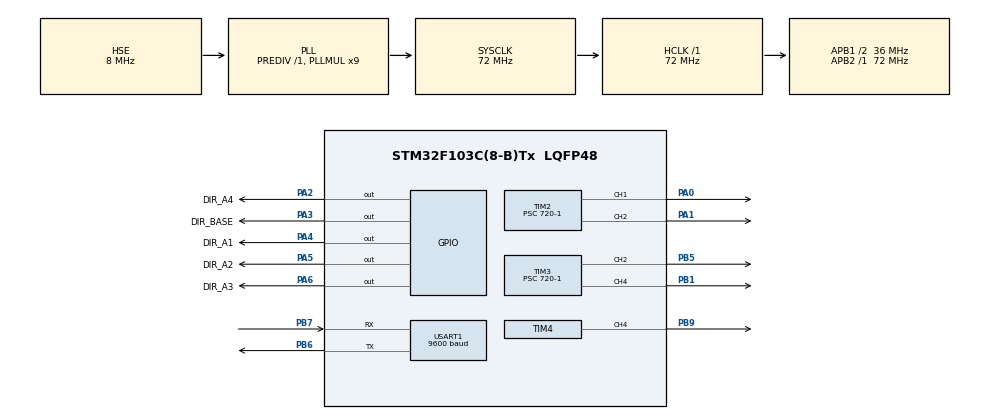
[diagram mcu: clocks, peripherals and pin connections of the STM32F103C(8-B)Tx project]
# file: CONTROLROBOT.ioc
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Mcu.Family=STM32F1
Mcu.Name=STM32F103C(8-B)Tx
Mcu.Package=LQFP48
NVIC.PriorityGroup=NVIC_PRIORITYGROUP_4
NVIC.TIM2_IRQn=true\:0\:0\:false\:false\:true\:true\:true\:true
NVIC.TIM3_IRQn=true\:0\:0\:false\:false\:true\:true\:true\:true
NVIC.TIM4_IRQn=true\:0\:0\:false\:false\:true\:true\:true\:true
NVIC.USART1_IRQn=true\:0\:0\:false\:false\:true\:true\:true\:true
PA0-WKUP.Signal=S_TIM2_CH1_ETR
PA1.Signal=S_TIM2_CH2
PA13.Mode=Serial_Wire
PA13.Signal=SYS_JTMS-SWDIO
PA14.Mode=Serial_Wire
PA14.Signal=SYS_JTCK-SWCLK
PA2.GPIO_Label=DIR_A4
PA2.Signal=GPIO_Output
PA3.GPIO_Label=DIR_BASE
PA3.Signal=GPIO_Output
PA4.GPIO_Label=DIR_A1
PA4.Signal=GPIO_Output
PA5.GPIO_Label=DIR_A2
PA5.Signal=GPIO_Output
PA6.GPIO_Label=DIR_A3
PA6.Signal=GPIO_Output
PB1.Signal=S_TIM3_CH4
PB5.Signal=S_TIM3_CH2
PB6.Mode=Asynchronous
PB6.Signal=USART1_TX
PB7.Mode=Asynchronous
PB7.Signal=USART1_RX
PB9.Signal=S_TIM4_CH4
PD0-OSC_IN.Mode=HSE-External-Oscillator
PD0-OSC_IN.Signal=RCC_OSC_IN
PD1-OSC_OUT.Mode=HSE-External-Oscillator
PD1-OSC_OUT.Signal=RCC_OSC_OUT
ProjectManager.HeapSize=0x200
ProjectManager.StackSize=0x400
ProjectManager.TargetToolchain=STM32CubeIDE
RCC.AHBFreq_Value=72000000
RCC.APB1CLKDivider=RCC_HCLK_DIV2
RCC.APB1Freq_Value=36000000
RCC.APB1TimFreq_Value=72000000
RCC.APB2Freq_Value=72000000
RCC.APB2TimFreq_Value=72000000
RCC.HCLKFreq_Value=72000000
RCC.PLLMUL=RCC_PLL_MUL9
RCC.PLLSourceVirtual=RCC_PLLSOURCE_HSE
RCC.SYSCLKFreq_VALUE=72000000
RCC.SYSCLKSource=RCC_SYSCLKSOURCE_PLLCLK
RCC.USBFreq_Value=72000000
SH.S_TIM2_CH1_ETR.0=TIM2_CH1,PWM Generation1 CH1
SH.S_TIM2_CH2.0=TIM2_CH2,PWM Generation2 CH2
SH.S_TIM3_CH2.0=TIM3_CH2,PWM Generation2 CH2
SH.S_TIM3_CH4.0=TIM3_CH4,PWM Generation4 CH4
SH.S_TIM4_CH4.0=TIM4_CH4,PWM Generation4 CH4
TIM2.Channel-PWM\ Generation1\ CH1=TIM_CHANNEL_1
TIM2.Channel-PWM\ Generation2\ CH2=TIM_CHANNEL_2
TIM2.Period=25-1
TIM2.Prescaler=720-1
TIM2.Pulse-PWM\ Generation1\ CH1=10
TIM2.Pulse-PWM\ Generation2\ CH2=10
TIM3.Channel-PWM\ Generation2\ CH2=TIM_CHANNEL_2
TIM3.Channel-PWM\ Generation4\ CH4=TIM_CHANNEL_4
TIM3.Period=50-1
TIM3.Prescaler=720-1
TIM3.Pulse-PWM\ Generation2\ CH2=30
TIM3.Pulse-PWM\ Generation4\ CH4=30
TIM4.Channel-PWM\ Generation4\ CH4=TIM_CHANNEL_4
TIM4.Period=50-1
TIM4.Prescaler=720-1
TIM4.Pulse-PWM\ Generation4\ CH4=30-1
USART1.BaudRate=9600
USART1.VirtualMode=VM_ASYNC
VP_TIM2_VS_ClockSourceINT.Mode=Internal
VP_TIM3_VS_ClockSourceINT.Mode=Internal
VP_TIM4_VS_ClockSourceINT.Mode=Internal
board=custom

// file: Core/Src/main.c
/* USER CODE BEGIN Header */
/**
 ******************************************************************************
 * @file           : main.c
 * @brief          : Main program body
 ******************************************************************************
 * @attention
 *
 * Copyright (c) 2024 STMicroelectronics.
 * All rights reserved.
 *
 * This software is licensed under terms that can be found in the LICENSE file
 * in the root directory of this software component.
 * If no LICENSE file comes with this software, it is provided AS-IS.
 *
 ******************************************************************************
 */
/* USER CODE END Header */
#include "main.h"

/* USER CODE BEGIN Includes */
#include <stdbool.h>
#include <stdio.h>
/* USER CODE END Includes */

/* USER CODE BEGIN PD */
#define BASE_CHANNEL TIM_CHANNEL_2
#define A1_CHANNEL TIM_CHANNEL_2
#define A2_CHANNEL TIM_CHANNEL_4
#define A3_CHANNEL TIM_CHANNEL_4
#define A4_CHANNEL TIM_CHANNEL_1
#define length 48
#define MAX_VALUE 100000
#define VALUE_FINISH_TIMER 31
#define BIT_STOP_BASE 0
#define BIT_STOP_A1 1
#define BIT_STOP_A2 2
#define BIT_STOP_A3 3
#define BIT_STOP_A4 4

/* USER CODE END PD */

TIM_HandleTypeDef htim2;
TIM_HandleTypeDef htim3;
TIM_HandleTypeDef htim4;

UART_HandleTypeDef huart1;

/* USER CODE BEGIN PV */
int pulse_base = 0, pulse_a1 = 0, pulse_a2 = 0, pulse_a3 = 0, pulse_a4 = 0,
		count_dot = 0, count_finish_timer = 0;
bool flag_receive_uart = false, flag_dir_change_base = false,
		flag_dir_change_a1 = false, flag_dir_change_a2 = 0, flag_dir_change_a3 =
				0, flag_dir_change_a4 = 0;
unsigned char flag_finish_timer = 0;
uint32_t value_base = MAX_VALUE, value_a1 = MAX_VALUE, value_a2 = MAX_VALUE,
		value_a3 = MAX_VALUE, value_a4 = MAX_VALUE, step_base = 0, step_a1 = 0,
		step_a2 = 0, step_a3 = 0, step_a4 = 0;
char rxByte[length];
char Home[length] = "Home----------------------";
char Stop[length] = "Stop----------------------";
typedef enum {
	Home_State = 1, Stop_State = 2,
} State;
typedef enum {
	ClockWise = 0, CounterClockWise = 1,
} Direction;
typedef enum {
	On = 0, Off = 1,
} Switch;
/* USER CODE END PV */

void SystemClock_Config(void);
static void MX_GPIO_Init(void);
static void MX_TIM2_Init(void);
static void MX_USART1_UART_Init(void);
static void MX_TIM3_Init(void);
static void MX_TIM4_Init(void);

/* USER CODE BEGIN 0 */
#if defined(__GNUC__)
int _write(int fd, char *ptr, int len) {
	HAL_UART_Transmit(&huart1, (uint8_t*) ptr, len, HAL_MAX_DELAY);
	return len;
}
#elif defined(__ICCARM__)#include "LowLevelIOInterface.h"

size_t __write(int handle,
  const unsigned char * buffer, size_t size) {
  HAL_UART_Transmit( &huart1, (uint8_t * ) buffer, size, UART_Delay);
  return size;
}
#elif defined(__CC_ARM)
int fputc(int ch, FILE * f) {
  HAL_UART_Transmit( &huart1, (uint8_t * ) &ch, 1, UART_Delay);
  return ch;
}
#endif
void HAL_TIM_PeriodElapsedCallback(TIM_HandleTypeDef *htim) {
	if (flag_receive_uart) {
		if (htim->Instance == TIM2) {
			pulse_a4 =
					!(flag_finish_timer & (1 << BIT_STOP_A4)) ?
							pulse_a4 + 1 : 0;
			pulse_base =
					!(flag_finish_timer & (1 << BIT_STOP_BASE)) ?
							pulse_base + 1 : 0;
			if (pulse_a4 >= step_a4) {
				HAL_TIM_PWM_Stop(&htim2, A4_CHANNEL);
				flag_finish_timer = flag_finish_timer | (1 << BIT_STOP_A4);
			}
			if (pulse_base >= step_base) {
				HAL_TIM_PWM_Stop(&htim2, BASE_CHANNEL);
				flag_finish_timer = flag_finish_timer | (1 << BIT_STOP_BASE);
			}
		}
		if (htim->Instance == TIM3) {
			pulse_a1 =
					!(flag_finish_timer & (1 << BIT_STOP_A1)) ?
							pulse_a1 + 1 : 0;
			pulse_a3 =
					!(flag_finish_timer & (1 << BIT_STOP_A3)) ?
							pulse_a3 + 1 : 0;
			if (pulse_a1 >= step_a1) {
				HAL_TIM_PWM_Stop(&htim3, A1_CHANNEL);
				flag_finish_timer = flag_finish_timer | (1 << BIT_STOP_A1);

			}
			if (pulse_a3 >= step_a3) {
				HAL_TIM_PWM_Stop(&htim3, A3_CHANNEL);
				flag_finish_timer = flag_finish_timer | (1 << BIT_STOP_A3);
			}

		}
		if (htim->Instance == TIM4) {
			pulse_a2 = !(flag_finish_timer & (1 << BIT_STOP_A2))? pulse_a2 + 1 : 0;
			if (pulse_a2 >= step_a2) {
				HAL_TIM_PWM_Stop(&htim4, A2_CHANNEL);
				flag_finish_timer = flag_finish_timer | (1 << BIT_STOP_A2);
			}

		}
		if (flag_finish_timer == VALUE_FINISH_TIMER) {
			flag_receive_uart = false;
			pulse_base = 0;
			pulse_a1 = 0;
			pulse_a2 = 0;
			pulse_a3 = 0;
			pulse_a4 = 0;
			flag_finish_timer = 0;

		}
	}

}

void reset_value_uart(void) {
	step_base = 0;
	step_a1 = 0;
	step_a2 = 0;
	step_a3 = 0;
	step_a4 = 0;
	value_base = MAX_VALUE;
	value_a1 = MAX_VALUE;
	value_a2 = MAX_VALUE;
	value_a3 = MAX_VALUE;
	value_a4 = MAX_VALUE;
	count_dot = 0;
	flag_dir_change_base = false;
	flag_dir_change_a1 = false;
	flag_dir_change_a2 = false;
	flag_dir_change_a3 = false;
	flag_dir_change_a4 = false;

}

void HAL_UART_RxCpltCallback(UART_HandleTypeDef *huart) {
	if (huart->Instance == USART1) {
		reset_value_uart();
		HAL_UART_Receive_IT(&huart1, (uint8_t*) rxByte, length);
		printf("Mode: XYZ\r\n");
		for (int i = 0; i < length; i++) {
			if ((rxByte[i] >= 'a' && rxByte[i] <= 'z')
					|| (rxByte[i] >= 'A' && rxByte[i] <= 'Z')
					|| rxByte[i] == '=') {
				continue;
			} else {
				if (rxByte[i] == ',') {
					count_dot++;
					continue;
				}
				switch (count_dot) {
				case 0:
					if (rxByte[i] == '-') {
						HAL_GPIO_WritePin(GPIOA, DIR_BASE_Pin,
								CounterClockWise);
//						HAL_GPIO_WritePin(PORT_DIR, DIR_BASE_Pin,
//								CounterClockWise);
						flag_dir_change_base = true;
						value_base /= 10;
						continue;
					}
					if (!flag_dir_change_base) {
						HAL_GPIO_WritePin(GPIOA, DIR_BASE_Pin, ClockWise);

					}
					step_base += ((int) rxByte[i] - '0') * value_base;
					value_base /= 10;
					break;
				case 1:
					if (rxByte[i] == '-') {
						HAL_GPIO_WritePin(GPIOA, DIR_A1_Pin, CounterClockWise);
						flag_dir_change_a1 = true;
						value_a1 /= 10;
						continue;
					}
					if (!flag_dir_change_a1) {
						HAL_GPIO_WritePin(GPIOA, DIR_A1_Pin, ClockWise);
					}
					step_a1 += ((int) rxByte[i] - '0') * value_a1;
					value_a1 /= 10;
					break;
				case 2:
					if (rxByte[i] == '-') {
						HAL_GPIO_WritePin(GPIOA, DIR_A2_Pin, CounterClockWise);
						value_a2 /= 10;
						flag_dir_change_a2 = true;
						continue;
					}
					if (!flag_dir_change_a2) {
						HAL_GPIO_WritePin(GPIOA, DIR_A2_Pin, ClockWise);
					}
					step_a2 += ((int) rxByte[i] - '0') * value_a2;
					value_a2 /= 10;
					break;
				case 3:
					if (rxByte[i] == '-') {
						HAL_GPIO_WritePin(GPIOA, DIR_A3_Pin, CounterClockWise);
						value_a3 /= 10;
						flag_dir_change_a3 = true;
						continue;
					}
					if (!flag_dir_change_a3) {
						HAL_GPIO_WritePin(GPIOA, DIR_A3_Pin, ClockWise);
					}
					step_a3 += ((int) rxByte[i] - '0') * value_a3;
					value_a3 /= 10;
					break;
				case 4:
					if (rxByte[i] == '-') {
						HAL_GPIO_WritePin(GPIOA, DIR_A4_Pin, CounterClockWise);
						value_a4 /= 10;
						flag_dir_change_a4 = true;
						continue;
					}
					if (!flag_dir_change_a4) {
						HAL_GPIO_WritePin(GPIOA, DIR_A4_Pin, ClockWise);
					}
					step_a4 += ((int) rxByte[i] - '0') * value_a4;
					value_a4 /= 10;
					break;
				}
			}
			flag_finish_timer = 0;
			if (step_base) {
				HAL_TIM_PWM_Start(&htim2, BASE_CHANNEL);
			} else {
				flag_finish_timer = flag_finish_timer | (1 << BIT_STOP_BASE);
			}
			if (step_a1) {
				HAL_TIM_PWM_Start(&htim3, A1_CHANNEL);
			} else {
				flag_finish_timer = flag_finish_timer | (1 << BIT_STOP_A1);
			}
			if (step_a2) {
				HAL_TIM_PWM_Start(&htim4, A2_CHANNEL);
			} else {
				flag_finish_timer = flag_finish_timer | (1 << BIT_STOP_A2);
			}
			if (step_a3) {
				HAL_TIM_PWM_Start(&htim3, A3_CHANNEL);
			} else {
				flag_finish_timer = flag_finish_timer | (1 << BIT_STOP_A3);
			}
			if (step_a4) {
				HAL_TIM_PWM_Start(&htim2, A4_CHANNEL);
			} else {
				flag_finish_timer = flag_finish_timer | (1 << BIT_STOP_A4);
			}

		}
		flag_receive_uart = true;
	}

}

/* USER CODE END 0 */

int main(void)
{

  /* MCU Configuration--------------------------------------------------------*/

  /* Reset of all peripherals, Initializes the Flash interface and the Systick. */
  HAL_Init();

  /* Configure the system clock */
  SystemClock_Config();

  /* Initialize all configured peripherals */
  MX_GPIO_Init();
  MX_TIM2_Init();
  MX_USART1_UART_Init();
  MX_TIM3_Init();
  MX_TIM4_Init();
  /* USER CODE BEGIN 2 */
	__HAL_TIM_CLEAR_IT(&htim2, TIM_IT_UPDATE);
	__HAL_TIM_CLEAR_IT(&htim3, TIM_IT_UPDATE);
	__HAL_TIM_CLEAR_IT(&htim4, TIM_IT_UPDATE);

	HAL_TIM_Base_Start_IT(&htim2);
	HAL_TIM_Base_Start_IT(&htim3);
	HAL_TIM_Base_Start_IT(&htim4);
	HAL_UART_Receive_IT(&huart1, (uint8_t*) rxByte, length);
  /* USER CODE END 2 */

  /* Infinite loop */
	while (1) {

	}
}

void SystemClock_Config(void)
{
  RCC_OscInitTypeDef RCC_OscInitStruct = {0};
  RCC_ClkInitTypeDef RCC_ClkInitStruct = {0};

  /** Initializes the RCC Oscillators according to the specified parameters
  * in the RCC_OscInitTypeDef structure.
  */
  RCC_OscInitStruct.OscillatorType = RCC_OSCILLATORTYPE_HSE;
  RCC_OscInitStruct.HSEState = RCC_HSE_ON;
  RCC_OscInitStruct.HSEPredivValue = RCC_HSE_PREDIV_DIV1;
  RCC_OscInitStruct.HSIState = RCC_HSI_ON;
  RCC_OscInitStruct.PLL.PLLState = RCC_PLL_ON;
  RCC_OscInitStruct.PLL.PLLSource = RCC_PLLSOURCE_HSE;
  RCC_OscInitStruct.PLL.PLLMUL = RCC_PLL_MUL9;
  if (HAL_RCC_OscConfig(&RCC_OscInitStruct) != HAL_OK)
  {
    Error_Handler();
  }

  /** Initializes the CPU, AHB and APB buses clocks
  */
  RCC_ClkInitStruct.ClockType = RCC_CLOCKTYPE_HCLK|RCC_CLOCKTYPE_SYSCLK
                              |RCC_CLOCKTYPE_PCLK1|RCC_CLOCKTYPE_PCLK2;
  RCC_ClkInitStruct.SYSCLKSource = RCC_SYSCLKSOURCE_PLLCLK;
  RCC_ClkInitStruct.AHBCLKDivider = RCC_SYSCLK_DIV1;
  RCC_ClkInitStruct.APB1CLKDivider = RCC_HCLK_DIV2;
  RCC_ClkInitStruct.APB2CLKDivider = RCC_HCLK_DIV1;

  if (HAL_RCC_ClockConfig(&RCC_ClkInitStruct, FLASH_LATENCY_2) != HAL_OK)
  {
    Error_Handler();
  }
}

static void MX_TIM2_Init(void)
{

  TIM_ClockConfigTypeDef sClockSourceConfig = {0};
  TIM_MasterConfigTypeDef sMasterConfig = {0};
  TIM_OC_InitTypeDef sConfigOC = {0};

  htim2.Instance = TIM2;
  htim2.Init.Prescaler = 720-1;
  htim2.Init.CounterMode = TIM_COUNTERMODE_UP;
  htim2.Init.Period = 25-1;
  htim2.Init.ClockDivision = TIM_CLOCKDIVISION_DIV1;
  htim2.Init.AutoReloadPreload = TIM_AUTORELOAD_PRELOAD_DISABLE;
  if (HAL_TIM_Base_Init(&htim2) != HAL_OK)
  {
    Error_Handler();
  }
  sClockSourceConfig.ClockSource = TIM_CLOCKSOURCE_INTERNAL;
  if (HAL_TIM_ConfigClockSource(&htim2, &sClockSourceConfig) != HAL_OK)
  {
    Error_Handler();
  }
  if (HAL_TIM_PWM_Init(&htim2) != HAL_OK)
  {
    Error_Handler();
  }
  sMasterConfig.MasterOutputTrigger = TIM_TRGO_RESET;
  sMasterConfig.MasterSlaveMode = TIM_MASTERSLAVEMODE_DISABLE;
  if (HAL_TIMEx_MasterConfigSynchronization(&htim2, &sMasterConfig) != HAL_OK)
  {
    Error_Handler();
  }
  sConfigOC.OCMode = TIM_OCMODE_PWM1;
  sConfigOC.Pulse = 10;
  sConfigOC.OCPolarity = TIM_OCPOLARITY_HIGH;
  sConfigOC.OCFastMode = TIM_OCFAST_DISABLE;
  if (HAL_TIM_PWM_ConfigChannel(&htim2, &sConfigOC, TIM_CHANNEL_1) != HAL_OK)
  {
    Error_Handler();
  }
  if (HAL_TIM_PWM_ConfigChannel(&htim2, &sConfigOC, TIM_CHANNEL_2) != HAL_OK)
  {
    Error_Handler();
  }
  HAL_TIM_MspPostInit(&htim2);

}

static void MX_TIM3_Init(void)
{

  TIM_ClockConfigTypeDef sClockSourceConfig = {0};
  TIM_MasterConfigTypeDef sMasterConfig = {0};
  TIM_OC_InitTypeDef sConfigOC = {0};

  htim3.Instance = TIM3;
  htim3.Init.Prescaler = 720-1;
  htim3.Init.CounterMode = TIM_COUNTERMODE_UP;
  htim3.Init.Period = 50-1;
  htim3.Init.ClockDivision = TIM_CLOCKDIVISION_DIV1;
  htim3.Init.AutoReloadPreload = TIM_AUTORELOAD_PRELOAD_DISABLE;
  if (HAL_TIM_Base_Init(&htim3) != HAL_OK)
  {
    Error_Handler();
  }
  sClockSourceConfig.ClockSource = TIM_CLOCKSOURCE_INTERNAL;
  if (HAL_TIM_ConfigClockSource(&htim3, &sClockSourceConfig) != HAL_OK)
  {
    Error_Handler();
  }
  if (HAL_TIM_PWM_Init(&htim3) != HAL_OK)
  {
    Error_Handler();
  }
  sMasterConfig.MasterOutputTrigger = TIM_TRGO_RESET;
  sMasterConfig.MasterSlaveMode = TIM_MASTERSLAVEMODE_DISABLE;
  if (HAL_TIMEx_MasterConfigSynchronization(&htim3, &sMasterConfig) != HAL_OK)
  {
    Error_Handler();
  }
  sConfigOC.OCMode = TIM_OCMODE_PWM1;
  sConfigOC.Pulse = 30;
  sConfigOC.OCPolarity = TIM_OCPOLARITY_HIGH;
  sConfigOC.OCFastMode = TIM_OCFAST_DISABLE;
  if (HAL_TIM_PWM_ConfigChannel(&htim3, &sConfigOC, TIM_CHANNEL_2) != HAL_OK)
  {
    Error_Handler();
  }
  if (HAL_TIM_PWM_ConfigChannel(&htim3, &sConfigOC, TIM_CHANNEL_4) != HAL_OK)
  {
    Error_Handler();
  }
  HAL_TIM_MspPostInit(&htim3);

}

static void MX_TIM4_Init(void)
{

  TIM_ClockConfigTypeDef sClockSourceConfig = {0};
  TIM_MasterConfigTypeDef sMasterConfig = {0};
  TIM_OC_InitTypeDef sConfigOC = {0};

  htim4.Instance = TIM4;
  htim4.Init.Prescaler = 720-1;
  htim4.Init.CounterMode = TIM_COUNTERMODE_UP;
  htim4.Init.Period = 50-1;
  htim4.Init.ClockDivision = TIM_CLOCKDIVISION_DIV1;
  htim4.Init.AutoReloadPreload = TIM_AUTORELOAD_PRELOAD_DISABLE;
  if (HAL_TIM_Base_Init(&htim4) != HAL_OK)
  {
    Error_Handler();
  }
  sClockSourceConfig.ClockSource = TIM_CLOCKSOURCE_INTERNAL;
  if (HAL_TIM_ConfigClockSource(&htim4, &sClockSourceConfig) != HAL_OK)
  {
    Error_Handler();
  }
  if (HAL_TIM_PWM_Init(&htim4) != HAL_OK)
  {
    Error_Handler();
  }
  sMasterConfig.MasterOutputTrigger = TIM_TRGO_RESET;
  sMasterConfig.MasterSlaveMode = TIM_MASTERSLAVEMODE_DISABLE;
  if (HAL_TIMEx_MasterConfigSynchronization(&htim4, &sMasterConfig) != HAL_OK)
  {
    Error_Handler();
  }
  sConfigOC.OCMode = TIM_OCMODE_PWM1;
  sConfigOC.Pulse = 30-1;
  sConfigOC.OCPolarity = TIM_OCPOLARITY_HIGH;
  sConfigOC.OCFastMode = TIM_OCFAST_DISABLE;
  if (HAL_TIM_PWM_ConfigChannel(&htim4, &sConfigOC, TIM_CHANNEL_4) != HAL_OK)
  {
    Error_Handler();
  }
  HAL_TIM_MspPostInit(&htim4);

}

static void MX_USART1_UART_Init(void)
{

  huart1.Instance = USART1;
  huart1.Init.BaudRate = 9600;
  huart1.Init.WordLength = UART_WORDLENGTH_8B;
  huart1.Init.StopBits = UART_STOPBITS_1;
  huart1.Init.Parity = UART_PARITY_NONE;
  huart1.Init.Mode = UART_MODE_TX_RX;
  huart1.Init.HwFlowCtl = UART_HWCONTROL_NONE;
  huart1.Init.OverSampling = UART_OVERSAMPLING_16;
  if (HAL_UART_Init(&huart1) != HAL_OK)
  {
    Error_Handler();
  }

}

static void MX_GPIO_Init(void)
{
  GPIO_InitTypeDef GPIO_InitStruct = {0};

  /* GPIO Ports Clock Enable */
  __HAL_RCC_GPIOD_CLK_ENABLE();
  __HAL_RCC_GPIOA_CLK_ENABLE();
  __HAL_RCC_GPIOB_CLK_ENABLE();

  /*Configure GPIO pin Output Level */
  HAL_GPIO_WritePin(GPIOA, DIR_A4_Pin|DIR_BASE_Pin|DIR_A1_Pin|DIR_A2_Pin
                          |DIR_A3_Pin, GPIO_PIN_RESET);

  /*Configure GPIO pins : DIR_A4_Pin DIR_BASE_Pin DIR_A1_Pin DIR_A2_Pin
                           DIR_A3_Pin */
  GPIO_InitStruct.Pin = DIR_A4_Pin|DIR_BASE_Pin|DIR_A1_Pin|DIR_A2_Pin
                          |DIR_A3_Pin;
  GPIO_InitStruct.Mode = GPIO_MODE_OUTPUT_PP;
  GPIO_InitStruct.Pull = GPIO_NOPULL;
  GPIO_InitStruct.Speed = GPIO_SPEED_FREQ_LOW;
  HAL_GPIO_Init(GPIOA, &GPIO_InitStruct);

}

void Error_Handler(void)
{
	__disable_irq();
	while (1) {
	}
}
